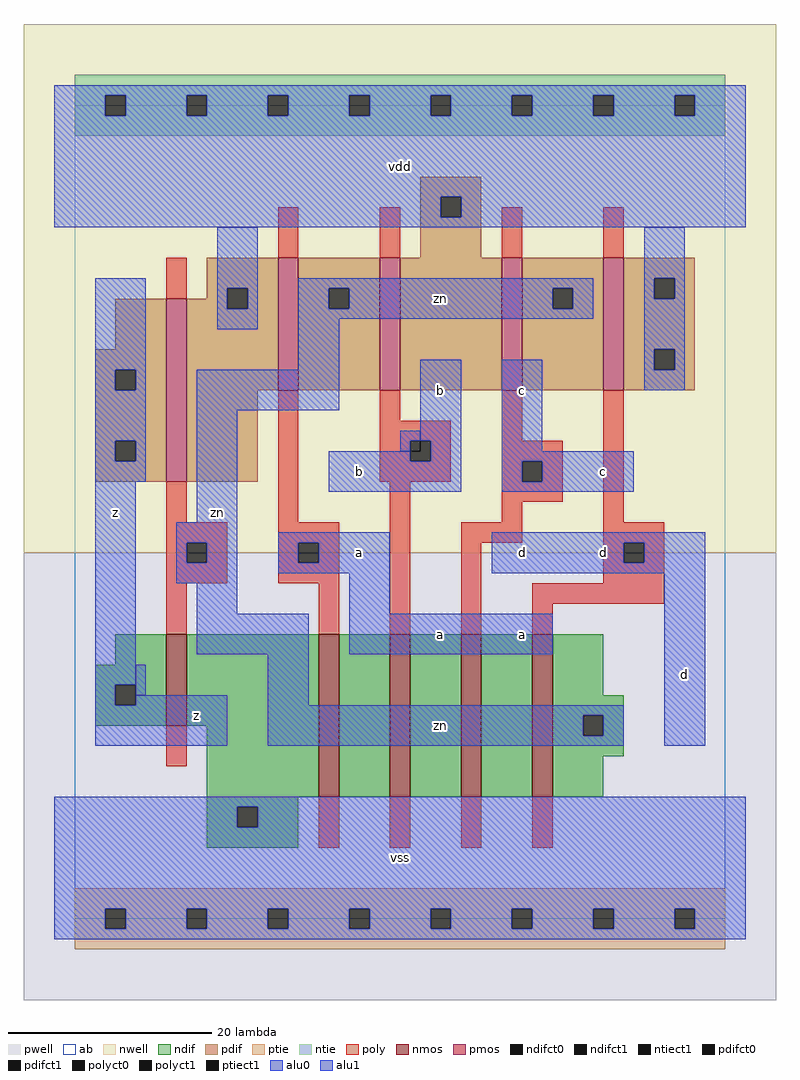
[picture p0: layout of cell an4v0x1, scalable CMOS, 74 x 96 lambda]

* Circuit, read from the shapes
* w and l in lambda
.subckt an4v0x1 a b c d vdd vss z zn
M1 vss zn z vss nfet w=9 l=2
M2 n1 a vss vss nfet w=16 l=2
M3 n2 b n1 vss nfet w=16 l=2
M4 n3 c n2 vss nfet w=16 l=2
M5 zn d n3 vss nfet w=16 l=2
M6 vdd zn z vdd pfet w=18 l=2
M7 zn a vdd vdd pfet w=13 l=2
M8 vdd b zn vdd pfet w=13 l=2
M9 zn c vdd vdd pfet w=13 l=2
M10 vdd d zn vdd pfet w=13 l=2
.ends

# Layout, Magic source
magic
tech scmos
<< ab >>
rect 0 0 64 80
<< nwell >>
rect -5 36 69 88
<< pwell >>
rect -5 -8 69 36
<< poly >>
rect 20 65 22 70
rect 30 65 32 70
rect 42 65 44 70
rect 52 65 54 70
rect 9 61 11 65
rect 9 39 11 43
rect 20 39 22 52
rect 30 49 32 52
rect 30 47 37 49
rect 30 45 33 47
rect 35 45 37 47
rect 30 43 37 45
rect 42 47 44 52
rect 42 45 48 47
rect 42 43 44 45
rect 46 43 48 45
rect 9 37 15 39
rect 9 35 11 37
rect 13 35 15 37
rect 9 33 15 35
rect 20 37 26 39
rect 20 35 22 37
rect 24 35 26 37
rect 20 33 26 35
rect 9 28 11 33
rect 24 28 26 33
rect 31 28 33 43
rect 42 41 48 43
rect 42 39 44 41
rect 38 37 44 39
rect 52 39 54 52
rect 52 37 58 39
rect 38 28 40 37
rect 52 35 54 37
rect 56 35 58 37
rect 52 33 58 35
rect 45 31 58 33
rect 45 28 47 31
rect 9 15 11 19
rect 24 7 26 12
rect 31 7 33 12
rect 38 7 40 12
rect 45 7 47 12
<< ndif >>
rect 4 25 9 28
rect 2 23 9 25
rect 2 21 4 23
rect 6 21 9 23
rect 2 19 9 21
rect 11 19 24 28
rect 13 12 24 19
rect 26 12 31 28
rect 33 12 38 28
rect 40 12 45 28
rect 47 22 52 28
rect 47 20 54 22
rect 47 18 50 20
rect 52 18 54 20
rect 47 16 54 18
rect 47 12 52 16
rect 13 11 22 12
rect 13 9 16 11
rect 18 9 22 11
rect 13 7 22 9
<< pdif >>
rect 34 71 40 73
rect 34 69 36 71
rect 38 69 40 71
rect 34 65 40 69
rect 13 62 20 65
rect 13 61 15 62
rect 4 56 9 61
rect 2 54 9 56
rect 2 52 4 54
rect 6 52 9 54
rect 2 47 9 52
rect 2 45 4 47
rect 6 45 9 47
rect 2 43 9 45
rect 11 60 15 61
rect 17 60 20 62
rect 11 52 20 60
rect 22 62 30 65
rect 22 60 25 62
rect 27 60 30 62
rect 22 52 30 60
rect 32 52 42 65
rect 44 62 52 65
rect 44 60 47 62
rect 49 60 52 62
rect 44 52 52 60
rect 54 63 61 65
rect 54 61 57 63
rect 59 61 61 63
rect 54 56 61 61
rect 54 54 57 56
rect 59 54 61 56
rect 54 52 61 54
rect 11 43 18 52
<< alu1 >>
rect -2 81 66 82
rect -2 79 3 81
rect 5 79 11 81
rect 13 79 19 81
rect 21 79 27 81
rect 29 79 35 81
rect 37 79 43 81
rect 45 79 51 81
rect 53 79 59 81
rect 61 79 66 81
rect -2 71 66 79
rect -2 69 36 71
rect 38 69 66 71
rect -2 68 66 69
rect 2 54 7 63
rect 2 52 4 54
rect 6 52 7 54
rect 2 47 7 52
rect 2 45 4 47
rect 6 45 7 47
rect 2 43 7 45
rect 2 23 6 43
rect 34 47 38 55
rect 25 45 33 46
rect 35 45 38 47
rect 25 42 38 45
rect 42 46 46 55
rect 42 45 55 46
rect 42 43 44 45
rect 46 43 55 45
rect 42 42 55 43
rect 20 37 31 38
rect 20 35 22 37
rect 24 35 31 37
rect 20 34 31 35
rect 41 37 62 38
rect 41 35 54 37
rect 56 35 62 37
rect 41 34 62 35
rect 27 30 31 34
rect 27 26 47 30
rect 2 21 4 23
rect 6 21 15 22
rect 2 17 15 21
rect 58 17 62 34
rect -2 11 66 12
rect -2 9 16 11
rect 18 9 66 11
rect -2 1 66 9
rect -2 -1 3 1
rect 5 -1 11 1
rect 13 -1 19 1
rect 21 -1 27 1
rect 29 -1 35 1
rect 37 -1 43 1
rect 45 -1 51 1
rect 53 -1 59 1
rect 61 -1 66 1
rect -2 -2 66 -1
<< ptie >>
rect 0 1 64 3
rect 0 -1 3 1
rect 5 -1 11 1
rect 13 -1 19 1
rect 21 -1 27 1
rect 29 -1 35 1
rect 37 -1 43 1
rect 45 -1 51 1
rect 53 -1 59 1
rect 61 -1 64 1
rect 0 -3 64 -1
<< ntie >>
rect 0 81 64 83
rect 0 79 3 81
rect 5 79 11 81
rect 13 79 19 81
rect 21 79 27 81
rect 29 79 35 81
rect 37 79 43 81
rect 45 79 51 81
rect 53 79 59 81
rect 61 79 64 81
rect 0 77 64 79
<< nmos >>
rect 9 19 11 28
rect 24 12 26 28
rect 31 12 33 28
rect 38 12 40 28
rect 45 12 47 28
<< pmos >>
rect 9 43 11 61
rect 20 52 22 65
rect 30 52 32 65
rect 42 52 44 65
rect 52 52 54 65
<< polyct0 >>
rect 33 46 34 47
rect 11 35 13 37
<< polyct1 >>
rect 34 46 35 47
rect 33 45 35 46
rect 44 43 46 45
rect 22 35 24 37
rect 54 35 56 37
<< ndifct0 >>
rect 50 18 52 20
<< ndifct1 >>
rect 4 21 6 23
rect 16 9 18 11
<< ntiect1 >>
rect 3 79 5 81
rect 11 79 13 81
rect 19 79 21 81
rect 27 79 29 81
rect 35 79 37 81
rect 43 79 45 81
rect 51 79 53 81
rect 59 79 61 81
<< ptiect1 >>
rect 3 -1 5 1
rect 11 -1 13 1
rect 19 -1 21 1
rect 27 -1 29 1
rect 35 -1 37 1
rect 43 -1 45 1
rect 51 -1 53 1
rect 59 -1 61 1
<< pdifct0 >>
rect 15 60 17 62
rect 25 60 27 62
rect 47 60 49 62
rect 57 61 59 63
rect 57 54 59 56
<< pdifct1 >>
rect 36 69 38 71
rect 4 52 6 54
rect 4 45 6 47
<< alu0 >>
rect 14 62 18 68
rect 56 63 60 68
rect 14 60 15 62
rect 17 60 18 62
rect 14 58 18 60
rect 22 62 51 63
rect 22 60 25 62
rect 27 60 47 62
rect 49 60 51 62
rect 22 59 51 60
rect 56 61 57 63
rect 59 61 60 63
rect 22 54 26 59
rect 56 56 60 61
rect 12 50 26 54
rect 12 39 16 50
rect 32 47 34 48
rect 32 46 33 47
rect 56 54 57 56
rect 59 54 60 56
rect 56 52 60 54
rect 10 37 16 39
rect 10 35 11 37
rect 13 35 16 37
rect 10 33 16 35
rect 12 30 16 33
rect 12 26 23 30
rect 6 22 7 25
rect 19 21 23 26
rect 19 20 54 21
rect 19 18 50 20
rect 52 18 54 20
rect 19 17 54 18
<< labels >>
rlabel alu0 14 40 14 40 6 zn
rlabel alu0 36 19 36 19 6 zn
rlabel alu0 36 61 36 61 6 zn
rlabel alu1 12 20 12 20 6 z
rlabel alu1 4 40 4 40 6 z
rlabel alu1 28 36 28 36 6 a
rlabel alu1 28 44 28 44 6 b
rlabel alu1 32 6 32 6 6 vss
rlabel alu1 36 28 36 28 6 a
rlabel alu1 44 28 44 28 6 a
rlabel alu1 44 36 44 36 6 d
rlabel alu1 36 52 36 52 6 b
rlabel alu1 44 52 44 52 6 c
rlabel alu1 32 74 32 74 6 vdd
rlabel alu1 52 36 52 36 6 d
rlabel alu1 60 24 60 24 6 d
rlabel alu1 52 44 52 44 6 c
<< end >>
